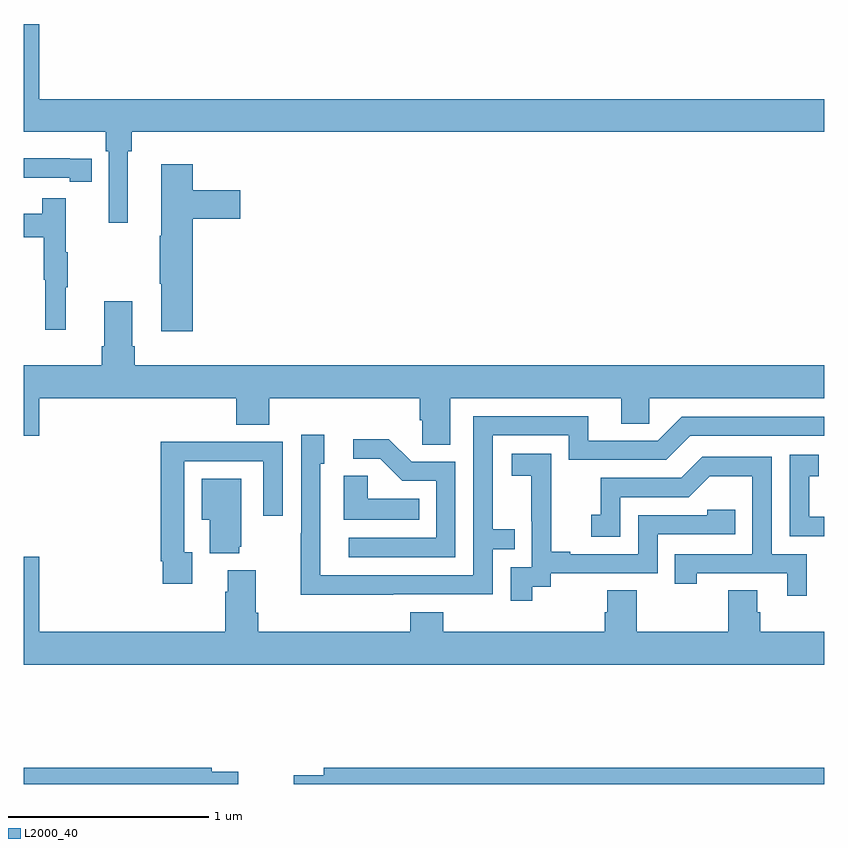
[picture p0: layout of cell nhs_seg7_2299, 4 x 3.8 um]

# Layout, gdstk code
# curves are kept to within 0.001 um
import gdstk
lib = gdstk.Library(unit=1e-6, precision=1e-09)
def P(c, l, *ps):  # polygons
    for p in ps: c.add(gdstk.Polygon(p, *l))
L2000_40 = (2000, 40)

nhs_seg7_2299 = lib.new_cell('nhs_seg7_2299')
P(nhs_seg7_2299, L2000_40, [(261.52,1023.164),(261.539,1023.164),(261.539,1023.26),(265,1023.26),(265,1023.424),(261.076,1023.424),(261.076,1023.799),(261,1023.799),(261,1023.26),(261.41,1023.26),(261.41,1023.164),(261.423,1023.164),(261.423,1022.805),(261.52,1022.805)],
  [(261.338,1023.126),(261.23,1023.126),(261.23,1023.127),(261,1023.127),(261,1023.03),(261.23,1023.03),(261.23,1023.01),(261.338,1023.01)],
  [(261.845,1022.825),(262.081,1022.825),(262.081,1022.967),(261.845,1022.967),(261.845,1023.097),(261.686,1023.097),(261.686,1022.741),(261.679,1022.741),(261.679,1022.5),(261.686,1022.5),(261.686,1022.262),(261.845,1022.262)],
  [(261.209,1022.483),(261.22,1022.483),(261.22,1022.657),(261.209,1022.657),(261.209,1022.929),(261.091,1022.929),(261.091,1022.85),(261,1022.85),(261,1022.734),(261.099,1022.734),(261.099,1022.52),(261.106,1022.52),(261.106,1022.271),(261.209,1022.271)],
  [(263.131,1021.928),(263.987,1021.928),(263.987,1021.801),(264.126,1021.801),(264.126,1021.928),(265,1021.928),(265,1022.092),(261.554,1022.092),(261.554,1022.188),(261.541,1022.188),(261.541,1022.413),(261.401,1022.413),(261.401,1022.188),(261.389,1022.188),(261.389,1022.092),(261,1022.092),(261,1021.74),(261.076,1021.74),(261.076,1021.928),(262.061,1021.928),(262.061,1021.795),(262.226,1021.795),(262.226,1021.928),(262.979,1021.928),(262.979,1021.819),(262.992,1021.819),(262.992,1021.696),(263.131,1021.696)],
  [(262.847,1020.948),(263.343,1020.948),(263.343,1021.173),(263.453,1021.173),(263.453,1021.274),(263.343,1021.274),(263.343,1021.743),(263.724,1021.743),(263.724,1021.62),(264.21,1021.62),(264.33,1021.74),(265,1021.74),(265,1021.836),(264.288,1021.836),(264.168,1021.716),(263.821,1021.716),(263.821,1021.839),(263.247,1021.839),(263.247,1021.044),(262.482,1021.044),(262.482,1021.602),(262.501,1021.602),(262.501,1021.747),(262.386,1021.747),(262.386,1021.253),(262.384,1021.253),(262.384,1020.947)],
  [(263.157,1021.611),(262.938,1021.611),(262.825,1021.724),(262.647,1021.724),(262.647,1021.626),(262.781,1021.626),(262.892,1021.515),(263.061,1021.515),(263.061,1021.23),(262.623,1021.23),(262.623,1021.134),(263.157,1021.134)],
  [(261.841,1021.158),(261.801,1021.158),(261.801,1021.614),(262.197,1021.614),(262.197,1021.341),(262.293,1021.341),(262.293,1021.71),(261.977,1021.71),(261.977,1021.712),(261.685,1021.712),(261.685,1021.114),(261.693,1021.114),(261.693,1021.002),(261.841,1021.002)],
  [(263.542,1020.985),(263.634,1020.985),(263.634,1021.053),(264.168,1021.053),(264.168,1021.248),(264.557,1021.248),(264.557,1021.371),(264.417,1021.371),(264.417,1021.344),(264.072,1021.344),(264.072,1021.149),(263.731,1021.149),(263.731,1021.162),(263.636,1021.162),(263.636,1021.445),(263.637,1021.445),(263.637,1021.651),(263.439,1021.651),(263.439,1021.541),(263.537,1021.541),(263.537,1021.313),(263.538,1021.313),(263.538,1021.083),(263.433,1021.083),(263.433,1020.915),(263.542,1020.915)],
  [(265,1021.335),(264.925,1021.335),(264.925,1021.539),(264.974,1021.539),(264.974,1021.645),(264.828,1021.645),(264.828,1021.239),(265,1021.239)],
  [(264.912,1021.149),(264.738,1021.149),(264.738,1021.635),(264.392,1021.635),(264.287,1021.53),(263.884,1021.53),(263.884,1021.345),(263.835,1021.345),(263.835,1021.236),(263.982,1021.236),(263.982,1021.434),(264.324,1021.434),(264.428,1021.538),(264.642,1021.538),(264.642,1021.149),(264.253,1021.149),(264.253,1021.002),(264.364,1021.002),(264.364,1021.053),(264.815,1021.053),(264.815,1020.942),(264.912,1020.942)],
  [(262.976,1021.426),(262.719,1021.426),(262.719,1021.541),(262.598,1021.541),(262.598,1021.322),(262.976,1021.322)],
  [(262.076,1021.185),(262.087,1021.185),(262.087,1021.525),(261.89,1021.525),(261.89,1021.322),(261.929,1021.322),(261.929,1021.154),(262.076,1021.154)],
  [(265,1020.76),(264.68,1020.76),(264.68,1020.858),(264.667,1020.858),(264.667,1020.968),(264.52,1020.968),(264.52,1020.76),(264.063,1020.76),(264.063,1020.968),(263.915,1020.968),(263.915,1020.858),(263.903,1020.858),(263.903,1020.76),(263.096,1020.76),(263.096,1020.859),(262.931,1020.859),(262.931,1020.76),(262.172,1020.76),(262.172,1020.856),(262.159,1020.856),(262.159,1021.069),(262.019,1021.069),(262.019,1020.962),(262.007,1020.962),(262.007,1020.76),(261.076,1020.76),(261.076,1021.135),(261,1021.135),(261,1020.596),(265,1020.596)],
  [(262.072,1020.06),(261.938,1020.06),(261.938,1020.08),(261,1020.08),(261,1020),(262.072,1020)],
  [(265,1020.08),(262.499,1020.08),(262.499,1020.044),(262.35,1020.044),(262.35,1020),(265,1020)])

lib.write_gds('nhs_seg7_2299.gds')
